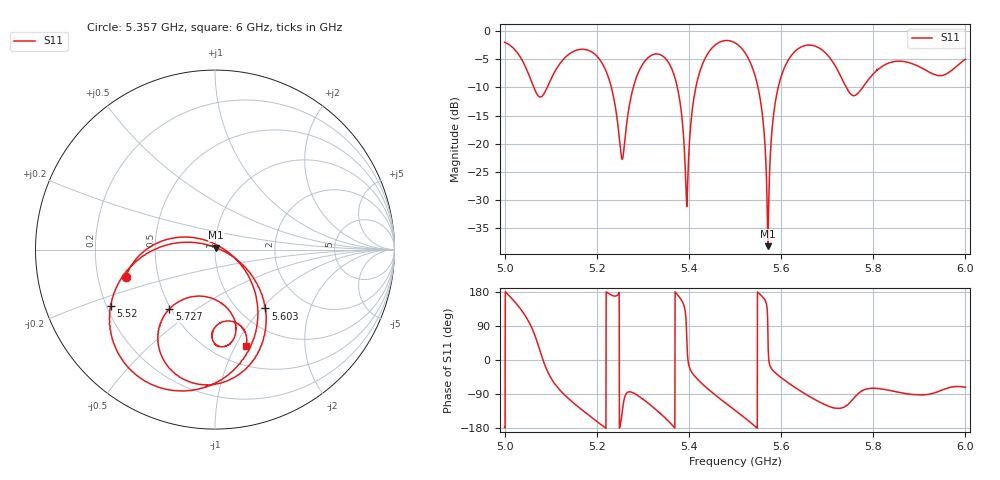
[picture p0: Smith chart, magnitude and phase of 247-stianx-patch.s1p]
# HZ S RI R 50
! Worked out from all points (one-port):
!   2020 points, 5 GHz to 6 GHz, reference 50 ohm
!   lowest |S11| = -38.3 dB at 5.572 GHz (marker M1), VSWR 1.02, Z = 50.6 + j1.06 ohm
!   |S11| at or under -10 dB: 5.232 GHz to 5.279 GHz (47.48 MHz wide, 0.903 % of centre); 5.375 GHz to 5.415 GHz (39.96 MHz wide, 0.741 % of centre); 5.55 GHz to 5.594 GHz (43.77 MHz wide, 0.786 % of centre)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
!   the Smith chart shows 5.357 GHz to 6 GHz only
!   S11 on the Smith chart (normalised r, x): 5.357 GHz: 0.32, -0.13; 5.52 GHz: 0.22, -0.24; 5.603 GHz: 1.30, -1.05; 5.727 GHz: 0.49, -0.39; 6 GHz: 0.70, -1.10
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5e9  -0.8004 -0.0246
5.049034e9  -0.1404 0.4231
5.085191e9  0.2755 -0.031
5.12531e9  0.0353 -0.5489
5.190689e9  -0.5796 -0.294
5.227836e9  -0.3589 0.0385
5.250124e9  -0.0995 -0.00686
5.27786e9  0.0206 -0.3003
5.309559e9  -0.2156 -0.5313
5.356612e9  -0.4982 -0.1517
5.375434e9  -0.3066 0.0433
5.395245e9  0.0142 0.0235
5.409114e9  0.1821 -0.1386
5.426944e9  0.2341 -0.419
5.463596e9  -0.1209 -0.7822
5.500248e9  -0.54 -0.5779
5.52006e9  -0.5812 -0.3151
5.55374e9  -0.2619 0.0278
5.57157e9  0.00619 0.0105
5.584448e9  0.1656 -0.0962
5.603269e9  0.2807 -0.3276
5.625062e9  0.2341 -0.5857
5.666172e9  -0.1236 -0.7428
5.727093e9  -0.2539 -0.33
5.750372e9  -0.0986 -0.2598
5.875186e9  0.00511 -0.5301
5.999505e9  0.1721 -0.5365
6.000001e9  0.1742 -0.5374
